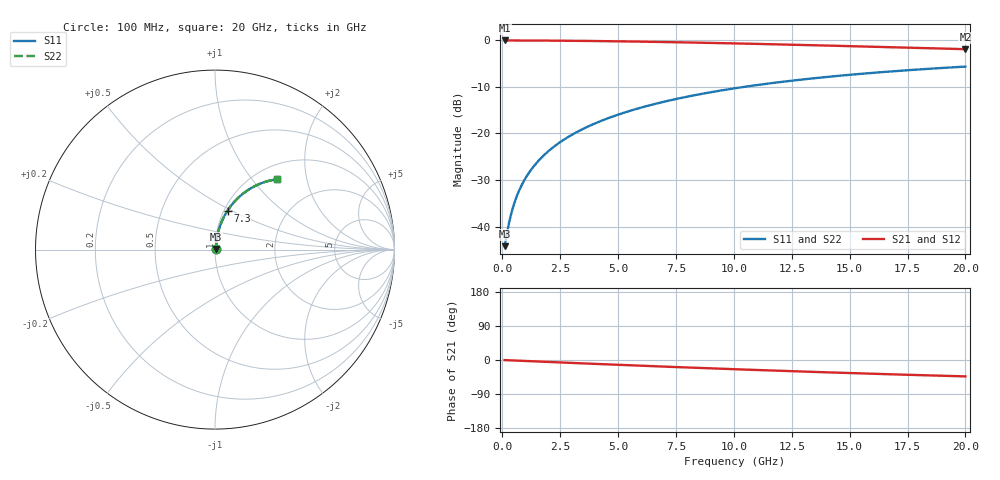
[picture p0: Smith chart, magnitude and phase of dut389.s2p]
! Touchstone file exported from HFSS 2024.1.0
!  File:  C:/UserFiles/LocalFiles/RDL_TSV_Batchsim/temp_RDL_bottom_389_1779614284.aedt
!  Generated:  05:21:04 PM May 24, 2026
!  Design:  RDL_bottom
!  Project:  temp_RDL_bottom_389_1779614284
!  Setup:  Setup1
!  Solution:  Sweep
! Variables:
!  dtsv = 10.80580581um
!  hbump = 3um
!  htsv = 59.8um
!  ldown = 516.98um
!  lrdl = 100um
!  p = 40
!  p1 = 55.44um
!  rhole = 1um
!  t = 450um
!  tdown = 3.51um
!  trdl = 3.915915916um
!  wdown = 10.05um
!  wrdl = 20um
# GHz S MA R 50.000000
! Terminal data exported
! Port[1] = RDL1_T1
! Port[2] = RDL1_T2
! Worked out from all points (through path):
!   200 points, 100 MHz to 20 GHz, reference 50 ohm
!   highest |S21| = -0.05 dB at 100 MHz (marker M1); lowest = -1.9 dB at 20 GHz (marker M2)
!   group delay of S21, straight-line fit = 6.02 ps
!   lowest |S11| = -44.2 dB at 100 MHz (marker M3), VSWR 1.01, Z = 50.5 + j0.333 ohm
!   |S11| at or under -10 dB: start of sweep to 10.45 GHz
!   |S22| runs from -44.2 to -5.7 dB; largest |S21 - S12| = 3.2e-15
!   S11 on the Smith chart (normalised r, x): 100 MHz: 1.01, +0.01; 7.3 GHz: 1.04, +0.48; 20 GHz: 1.25, +1.34
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0.1  0.006174 32.2  0.9948 -0.3  0.9948 -0.3  0.006174 32.2
! Gamma 0 0 0 0
! Port Impedance 50 0 50 0
0.2  0.008445 51.2  0.9947 -0.5  0.9947 -0.5  0.008445 51.2
0.3  0.01124 61.2  0.9946 -0.8  0.9946 -0.8  0.01124 61.2
0.4  0.01423 67.0  0.9945 -1.1  0.9945 -1.1  0.01423 67.0
0.5  0.01731 70.7  0.9944 -1.3  0.9944 -1.3  0.01731 70.7
0.6  0.02043 73.1  0.9942 -1.6  0.9942 -1.6  0.02043 73.1
0.8  0.02672 76.2  0.9939 -2.1  0.9939 -2.1  0.02672 76.2
1.1  0.03621 78.5  0.9933 -2.9  0.9933 -2.9  0.03621 78.5
1.5  0.04892 79.8  0.9923 -3.9  0.9923 -3.9  0.04892 79.8
1.8  0.05846 80.2  0.9914 -4.7  0.9914 -4.7  0.05846 80.2
2.1  0.068 80.3  0.9904 -5.4  0.9904 -5.4  0.068 80.3
2.7  0.08705 80.0  0.988 -7.0  0.988 -7.0  0.08705 80.0
3.5  0.1123 79.1  0.984 -9.0  0.984 -9.0  0.1123 79.1
4.2  0.1343 78.0  0.9797 -10.7  0.9797 -10.7  0.1343 78.0
5  0.1591 76.6  0.9741 -12.7  0.9741 -12.7  0.1591 76.6
6.8  0.2135 73.2  0.9589 -17.0  0.9589 -17.0  0.2136 73.2
7.3  0.2283 72.2  0.9541 -18.2  0.9541 -18.2  0.2283 72.2
8.6  0.2656 69.6  0.9408 -21.2  0.9408 -21.2  0.2656 69.6
10.1  0.3068 66.6  0.9242 -24.5  0.9242 -24.5  0.3069 66.6
13.4  0.3896 60.2  0.8846 -31.3  0.8846 -31.3  0.3897 60.2
16.7  0.4611 54.2  0.8431 -37.6  0.8431 -37.6  0.4612 54.2
20  0.5215 48.7  0.802 -43.3  0.802 -43.3  0.5217 48.7
